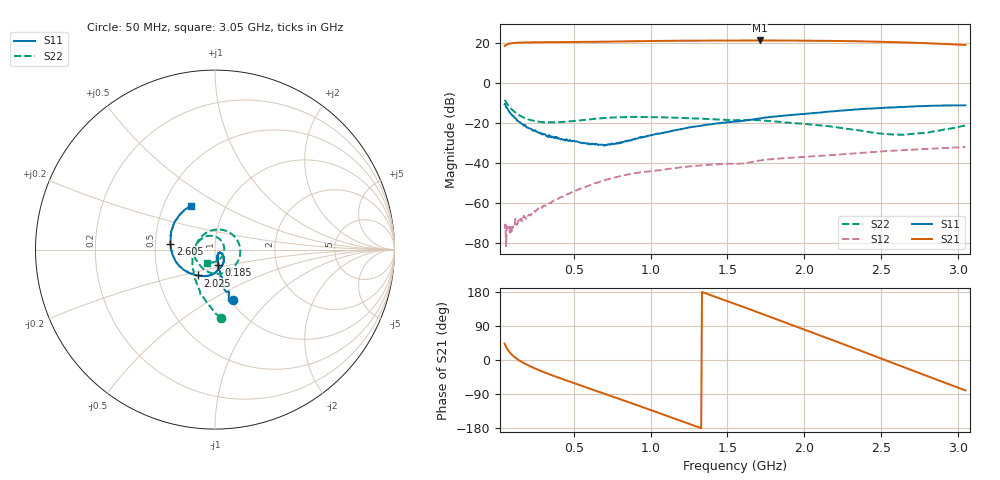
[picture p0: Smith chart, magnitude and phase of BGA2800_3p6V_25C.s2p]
#  HZ  S  RI  R  50.0000
! Rohde & Schwarz ZVA/B
! Temperature 25C
! Device number 1
! Measured Vcc 3.600000
! Measured Icc 0.011502
! DeltaGain  0.143723
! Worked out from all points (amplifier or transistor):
!   601 points, 50 MHz to 3.05 GHz, reference 50 ohm
!   highest |S21| = 21.4 dB at 1.71 GHz (marker M1)
!   |S21| within 3 dB of that: start of sweep to end of sweep
!   unconditionally stable (mu >= 1): start of sweep to end of sweep
!   at 550 MHz: K = 19.79, MAG = 20.7 dB, |S12| = -52.7 dB
!   at 1.55 GHz: K = 4.38, MAG = 21.5 dB, |S12| = -40.3 dB
!   at 3.05 GHz: K = 2.12, MAG = 19.6 dB, |S12| = -32.0 dB
!   S11 on the Smith chart (normalised r, x): 50 MHz: 1.03, -0.64; 185 MHz: 1.02, -0.18; 2.025 GHz: 0.79, -0.24; 2.605 GHz: 0.60, +0.04; 3.05 GHz: 0.68, +0.36
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5e7  0.103 -0.2819  6.238 5.83  0.000224 -1.91e-05  0.0311 -0.3796
1.05e8  0.0302 -0.1465  9.913 1.977  0.000136 -0.00022  -0.1058 -0.1764
1.85e8  0.0191 -0.0857  10.28 -1.846  -4.02e-05 -0.000414  -0.1239 -0.0449
3.55e8  0.0118 -0.0424  8.171 -6.771  -0.000913 -0.000496  -0.068 0.0792
5.5e8  0.0161 -0.0282  4.024 -9.953  -0.00217 0.00081  0.0472 0.1089
8e8  0.0282 -0.0179  -2.517 -10.79  -0.00128 0.00448  0.1407 -0.0048
1.05e9  0.0443 -0.0311  -8.645 -7.481  0.00328 0.00569  0.0748 -0.1184
1.18e9  0.0492 -0.0475  -10.71 -4.316  0.00579 0.00506  0.0158 -0.1351
1.3e9  0.0475 -0.0683  -11.57 -0.8773  0.00786 0.00337  -0.0332 -0.1264
1.43e9  0.038 -0.0909  -11.28 2.938  0.00925 0.000905  -0.0723 -0.1006
1.55e9  0.0211 -0.107  -9.898 6.202  0.00951 -0.00143  -0.0945 -0.0708
1.71e9  -0.00246 -0.1311  -6.613 9.705  0.0107 -0.00428  -0.1163 -0.0184
1.875e9  -0.0465 -0.1476  -1.938 11.51  0.00958 -0.00917  -0.0987 0.0343
2.025e9  -0.0957 -0.1439  2.628 11.28  0.00691 -0.0127  -0.0671 0.0656
2.05e9  -0.1041 -0.1421  3.359 11.06  0.00635 -0.0132  -0.0609 0.0687
2.18e9  -0.1509 -0.1272  6.818 9.203  0.00312 -0.0156  -0.0261 0.0777
2.315e9  -0.1928 -0.0948  9.488 6.088  -0.00108 -0.0172  0.0113 0.0681
2.435e9  -0.2257 -0.0506  10.7 2.697  -0.00566 -0.0178  0.038 0.045
2.55e9  -0.2466 0.00394  10.73 -0.6845  -0.0103 -0.0173  0.0505 0.0144
2.605e9  -0.2481 0.033  10.38 -2.231  -0.0126 -0.0164  0.0515 -0.00108
2.835e9  -0.2231 0.156  6.677 -7.274  -0.0206 -0.0101  0.0186 -0.0582
3.05e9  -0.1349 0.2453  1.551 -8.939  -0.0252 -0.000674  -0.0466 -0.0741
